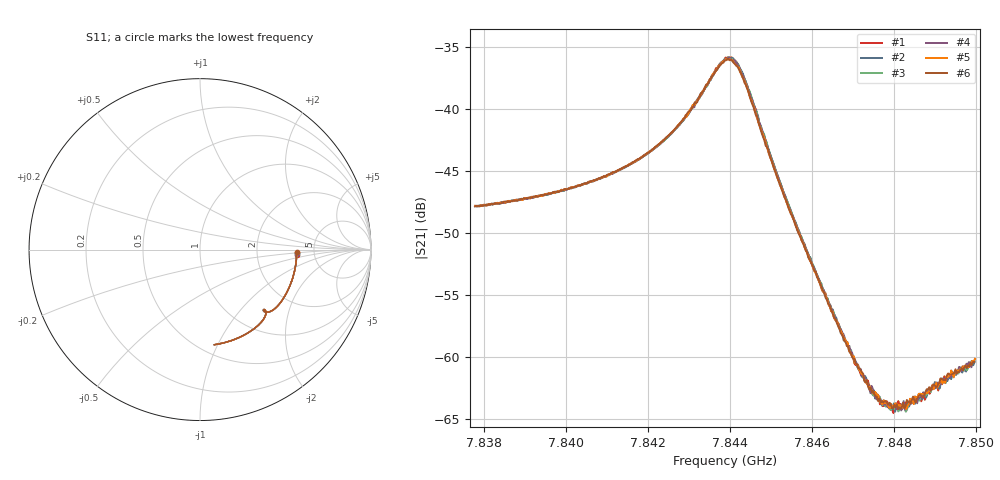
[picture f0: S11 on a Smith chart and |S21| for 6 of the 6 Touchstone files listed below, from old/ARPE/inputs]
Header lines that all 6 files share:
#  HZ  S  RI  R  50.00
! Rohde & Schwarz Vector Network Analyzer
! Rohde-Schwarz,ZNB20-2Port,1311601062101988,3.16
! freq[Hz]  re:S11  im:S11  re:S21  im:S21  re:S12  im:S12  re:S22  im:S22
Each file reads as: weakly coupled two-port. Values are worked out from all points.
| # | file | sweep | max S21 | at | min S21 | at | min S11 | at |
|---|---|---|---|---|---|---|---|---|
| 1 | 3_2_48.1015_50.1333466_293.368_.s2p | 7.83796 GHz to 7.84981 GHz | -35.86 dB | 7.84394 GHz | -64.5 dB | 7.84797 GHz | -5.8 dB | 7.84409 GHz |
| 2 | 11_2_48.0945_50.134552_5170.374_.s2p | 7.83781 GHz to 7.84996 GHz | -35.89 dB | 7.84397 GHz | -64.4 dB | 7.84802 GHz | -5.8 dB | 7.8441 GHz |
| 3 | 12_2_48.0992_50.1349297_5731.288_.s2p | 7.83782 GHz to 7.84994 GHz | -35.88 dB | 7.84397 GHz | -64.4 dB | 7.84828 GHz | -5.8 dB | 7.8441 GHz |
| 4 | 16_2_48.0982_50.133255_8332.768_.s2p | 7.83787 GHz to 7.84988 GHz | -35.88 dB | 7.84396 GHz | -64.3 dB | 7.84816 GHz | -5.8 dB | 7.84408 GHz |
| 5 | 23_2_48.0995_50.1305046_12387.381_.s2p | 7.83778 GHz to 7.84997 GHz | -35.98 dB | 7.84396 GHz | -64.2 dB | 7.84829 GHz | -5.8 dB | 7.84408 GHz |
| 6 | 24_2_48.1005_50.1299019_13167.761_.s2p | 7.83777 GHz to 7.84995 GHz | -35.97 dB | 7.84395 GHz | -64.2 dB | 7.84809 GHz | -5.8 dB | 7.84407 GHz |
